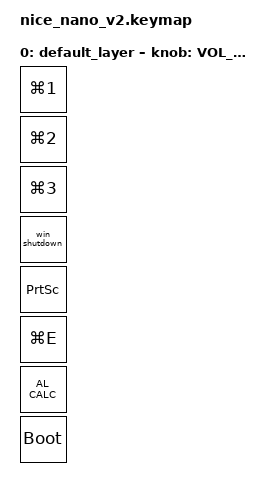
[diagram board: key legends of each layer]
#include <behaviors.dtsi>
#include <dt-bindings/zmk/keys.h>
#include <dt-bindings/zmk/bt.h>

/ {
    macros {
        // Macro giả lập tổ hợp tắt nguồn nhanh trên Windows (Win + X -> U -> U)
        win_shutdown: win_shutdown {
            compatible = "zmk,behavior-macro";
            #binding-cells = <0>;
            wait-ms = <40>;
            tap-ms = <10>;
            bindings = <&kp LG(X) &kp U &kp U>;
        };
    };

    keymap {
        compatible = "zmk,keymap";

        default_layer {
            // Vặn núm xoay EC11: Tăng / Giảm âm lượng
            sensor-bindings = <&inc_dec_kp C_VOL_DN C_VOL_UP>;

            bindings = <
                // ---- HÀNG 1 ----
                &kp LG(N1)         // Nút 1: Mở app vị trí số 1 trên Taskbar
                &kp LG(N2)         // Nút 2: Mở app vị trí số 2 trên Taskbar
                &kp LG(N3)         // Nút 3: Mở app vị trí số 3 trên Taskbar
                &win_shutdown      // Nút 4: Tắt máy siêu tốc bằng macro Win + X, U, U

                // ---- HÀNG 2 ----
                &kp PSCRN          // Nút 1: Chụp màn hình (Print Screen)
                &kp LG(E)          // Nút 2: Mở File Explorer (Win + E)
                &kp C_AL_CALC      // Nút 3: Mở Calculator (Máy tính)
                &bootloader        // Núm xoay (Nhấn xuống): Chế độ nạp code
            >;
        };
    };
};
